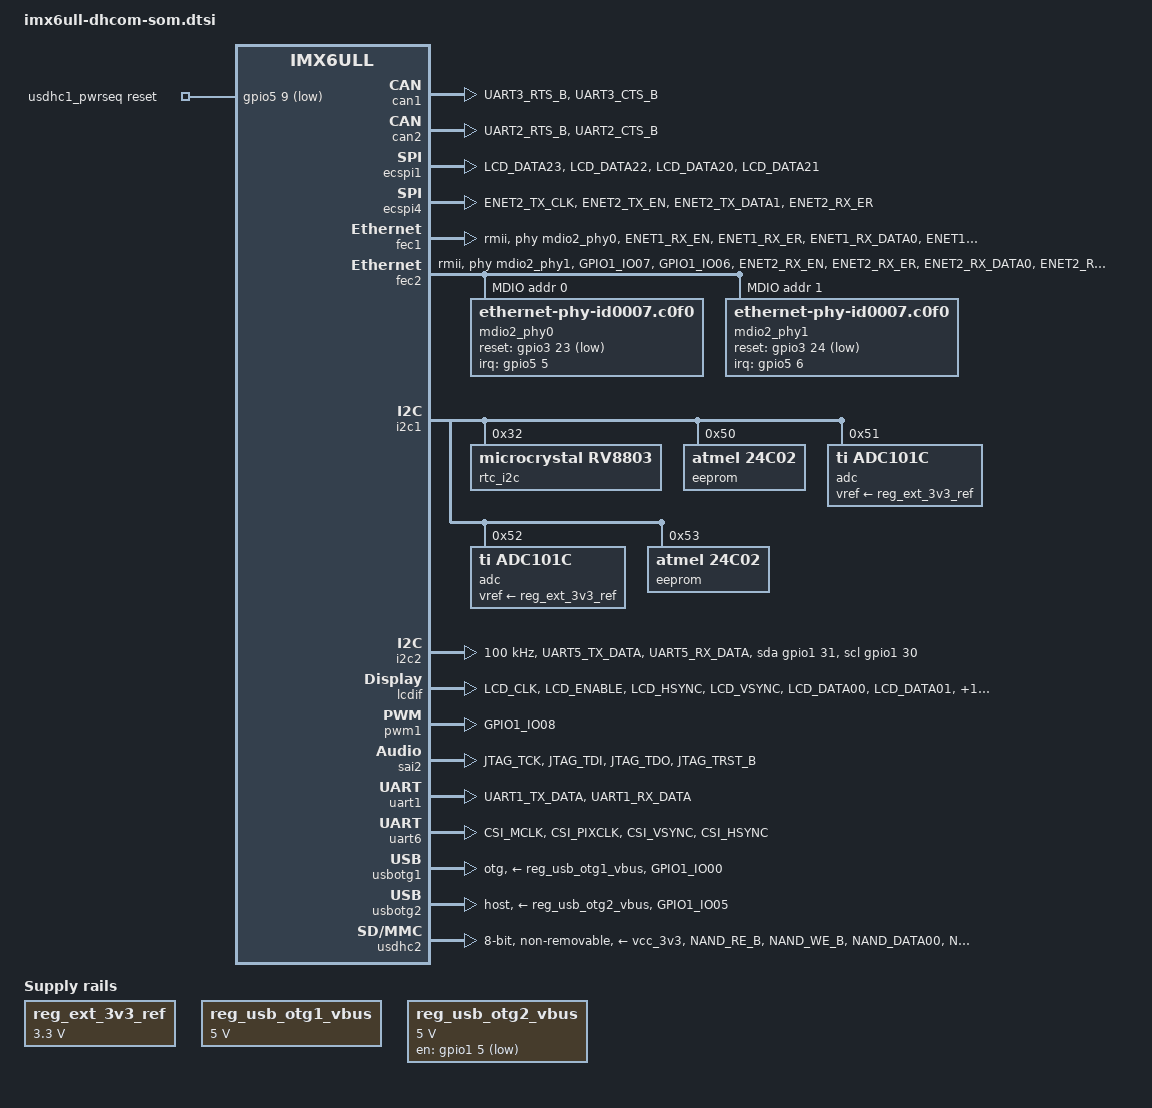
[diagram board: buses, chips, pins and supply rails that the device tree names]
// SPDX-License-Identifier: GPL-2.0+ OR BSD-3-Clause
/*
 * Copyright (C) 2023 DH electronics GmbH
 */

#include "imx6ull-dhcor-som.dtsi"

/ {
	aliases {
		/delete-property/ spi2;
		/delete-property/ spi3;
		i2c0 = &i2c2;
		i2c1 = &i2c1;
		mmc2 = &usdhc2;
		rtc0 = &rtc_i2c;
		rtc1 = &snvs_rtc;
		serial0 = &uart1;
		serial1 = &uart6; /* DHCOM UART2, special hardware required */
		serial2 = &uart3;
		serial3 = &uart2; /* Use BT UART always as ttymxc3 */
		serial4 = &uart4;
		serial5 = &uart5;
		spi0 = &ecspi1;
		spi1 = &ecspi4; /* DHCOM SPI2, special hardware required */
	};

	chosen {
		stdout-path = "serial0:115200n8";
	};

	reg_ext_3v3_ref: regulator-ext-3v3-ref {
		compatible = "regulator-fixed";
		regulator-always-on;
		regulator-max-microvolt = <3300000>;
		regulator-min-microvolt = <3300000>;
		regulator-name = "VCC_3V3_REF";
	};

	reg_usb_otg1_vbus: regulator-usb-otg1-vbus {
		compatible = "regulator-fixed";
		regulator-max-microvolt = <5000000>;
		regulator-min-microvolt = <5000000>;
		regulator-name = "usb-otg1-vbus";
	};

	reg_usb_otg2_vbus: regulator-usb-otg2-vbus {
		compatible = "regulator-fixed";
		gpio = <&gpio1 5 GPIO_ACTIVE_LOW>;
		regulator-max-microvolt = <5000000>;
		regulator-min-microvolt = <5000000>;
		regulator-name = "usb-otg2-vbus";
	};

	/* SoM with WiFi/BT: WiFi pin WL_REG_ON is connected to a DHCOM GPIO */
	/omit-if-no-ref/ usdhc1_pwrseq: usdhc1-pwrseq {
		compatible = "mmc-pwrseq-simple";
		reset-gpios = <&gpio5 9 GPIO_ACTIVE_LOW>; /* GPIO H */
	};
};

/* SoM with WiFi/BT: BT pin BT_REG_ON is connected to a DHCOM GPIO */
&bluetooth {
	shutdown-gpios = <&gpio1 18 GPIO_ACTIVE_HIGH>; /* GPIO I */
};

&can1 {
	pinctrl-0 = <&pinctrl_flexcan1>;
	pinctrl-names = "default";
	status = "okay";
};

/*
 * The signals for CAN2 TX and RX are routed to the DHCOM UART1 RTS/CTS pins.
 * Only if this pins are used as CAN interface enable it on board layer.
 */
&can2 {
	pinctrl-0 = <&pinctrl_flexcan2>;
	pinctrl-names = "default";
};

/* DHCOM SPI1 */
&ecspi1 {
	cs-gpios = <&gpio3 26 GPIO_ACTIVE_LOW>;
	pinctrl-0 = <&pinctrl_ecspi1>;
	pinctrl-names = "default";
	status = "okay";
};

/*
 * DHCOM SPI2
 * Special hardware required that uses the pins of FEC2. Therefore this SPI
 * interface can only be used if FEC2 is disabled.
 */
&ecspi4 {
	cs-gpios = <&gpio2 15 GPIO_ACTIVE_LOW>;
	pinctrl-0 = <&pinctrl_ecspi4>;
	pinctrl-names = "default";
};

/* DHCOM ETH1 */
&fec1 {
	phy-handle = <&mdio2_phy0>;
	phy-mode = "rmii";
	pinctrl-0 = <&pinctrl_fec1>;
	pinctrl-names = "default";
	status = "okay";
};

/* DHCOM ETH2 */
&fec2 {
	phy-handle = <&mdio2_phy1>;
	phy-mode = "rmii";
	pinctrl-0 = <&pinctrl_fec2>;
	pinctrl-names = "default";
	status = "okay";

	mdio {
		#address-cells = <1>;
		#size-cells = <0>;

		mdio2_phy0: ethernet-phy@0 {
			compatible = "ethernet-phy-id0007.c0f0", /* SMSC LAN8710Ai */
				     "ethernet-phy-ieee802.3-c22";
			reg = <0>;
			clock-names = "rmii-ref";
			clocks = <&clks IMX6UL_CLK_ENET_REF>;
			interrupt-parent = <&gpio5>;
			interrupts = <5 IRQ_TYPE_LEVEL_LOW>;
			pinctrl-0 = <&pinctrl_fec1_phy &pinctrl_snvs_fec1_phy>;
			pinctrl-names = "default";
			reset-assert-us = <500>;
			reset-deassert-us = <500>;
			reset-gpios = <&gpio3 23 GPIO_ACTIVE_LOW>;
			smsc,disable-energy-detect; /* Make plugin detection reliable */
		};

		mdio2_phy1: ethernet-phy@1 {
			compatible = "ethernet-phy-id0007.c0f0", /* SMSC LAN8710Ai */
				     "ethernet-phy-ieee802.3-c22";
			reg = <1>;
			clock-names = "rmii-ref";
			clocks = <&clks IMX6UL_CLK_ENET2_REF>;
			interrupt-parent = <&gpio5>;
			interrupts = <6 IRQ_TYPE_LEVEL_LOW>;
			pinctrl-0 = <&pinctrl_fec2_phy &pinctrl_snvs_fec2_phy>;
			pinctrl-names = "default";
			reset-assert-us = <500>;
			reset-deassert-us = <500>;
			reset-gpios = <&gpio3 24 GPIO_ACTIVE_LOW>;
			smsc,disable-energy-detect; /* Make plugin detection reliable */
		};
	};
};

&gpio1 {
	gpio-line-names =
		"", "", "", "",
		"", "", "", "",
		"", "", "", "DHCOM-INT",
		"", "", "", "",
		"", "", "DHCOM-I", "",
		"", "", "", "",
		"", "", "", "",
		"", "", "", "";
	pinctrl-0 = <&pinctrl_spi1_switch
		     &pinctrl_dhcom_i &pinctrl_dhcom_int>;
	pinctrl-names = "default";
};

&gpio4 {
	gpio-line-names =
		"", "", "", "",
		"", "", "", "",
		"", "", "", "",
		"", "", "", "",
		"", "DHCOM-L", "DHCOM-K", "DHCOM-M",
		"DHCOM-J", "DHCOM-U", "DHCOM-T", "DHCOM-S",
		"DHCOM-R", "DHCOM-Q", "DHCOM-P", "DHCOM-O",
		"DHCOM-N", "", "", "";
	pinctrl-0 = <&pinctrl_dhcom_j &pinctrl_dhcom_k
		     &pinctrl_dhcom_l &pinctrl_dhcom_m
		     &pinctrl_dhcom_n &pinctrl_dhcom_o
		     &pinctrl_dhcom_p &pinctrl_dhcom_q
		     &pinctrl_dhcom_r &pinctrl_dhcom_s
		     &pinctrl_dhcom_t &pinctrl_dhcom_u>;
	pinctrl-names = "default";
};

&gpio5 {
	gpio-line-names =
		"DHCOM-A", "DHCOM-B", "DHCOM-C", "DHCOM-D",
		"DHCOM-E", "", "", "DHCOM-F",
		"DHCOM-G", "DHCOM-H", "", "",
		"", "", "", "",
		"", "", "", "",
		"", "", "", "",
		"", "", "", "",
		"", "", "", "";
	pinctrl-0 = <&pinctrl_snvs_dhcom_a &pinctrl_snvs_dhcom_b
		     &pinctrl_snvs_dhcom_c &pinctrl_snvs_dhcom_d
		     &pinctrl_snvs_dhcom_e &pinctrl_snvs_dhcom_f
		     &pinctrl_snvs_dhcom_g &pinctrl_snvs_dhcom_h>;
	pinctrl-names = "default";
};

/* DHCOM I2C2 */
&i2c1 {
	rtc_i2c: rtc@32 {
		compatible = "microcrystal,rv8803";
		reg = <0x32>;
	};

	/* Microchip 24AA025E48T-I/OT containing MAC for DHCOM ETH1 */
	eeprom@50 {
		compatible = "atmel,24c02";
		reg = <0x50>;
		pagesize = <16>;
	};

	/* TI ADC101C027 */
	adc@51 {
		compatible = "ti,adc101c";
		reg = <0x51>;
		vref-supply = <&reg_ext_3v3_ref>;
	};

	/* TI ADC101C027 */
	adc@52 {
		compatible = "ti,adc101c";
		reg = <0x52>;
		vref-supply = <&reg_ext_3v3_ref>;
	};

	/* Microchip 24AA025E48T-I/OT containing MAC for DHCOM ETH2 */
	eeprom@53 {
		compatible = "atmel,24c02";
		reg = <0x53>;
		pagesize = <16>;
	};
};

/* DHCOM I2C1 */
&i2c2 {
	clock-frequency = <100000>;
	pinctrl-0 = <&pinctrl_i2c2>;
	pinctrl-1 = <&pinctrl_i2c2_gpio>;
	pinctrl-names = "default", "gpio";
	scl-gpios = <&gpio1 30 (GPIO_ACTIVE_HIGH | GPIO_OPEN_DRAIN)>;
	sda-gpios = <&gpio1 31 (GPIO_ACTIVE_HIGH | GPIO_OPEN_DRAIN)>;
	status = "okay";
};

&lcdif {
	pinctrl-0 = <&pinctrl_lcdif>;
	pinctrl-names = "default";
};

&pwm1 {
	pinctrl-0 = <&pinctrl_pwm1>;
	pinctrl-names = "default";
};

&sai2 {
	assigned-clock-rates = <320000000>;
	assigned-clocks = <&clks IMX6UL_CLK_PLL3_PFD2>;
	pinctrl-0 = <&pinctrl_sai2>;
	pinctrl-names = "default";
};

&tsc {
	measure-delay-time = <0xffff>;
	pinctrl-0 = <&pinctrl_tsc>;
	pinctrl-names = "default";
	pre-charge-time = <0xfff>;
	touchscreen-average-samples = <32>;
	xnur-gpio = <&gpio1 3 GPIO_ACTIVE_LOW>;
};

/* DHCOM UART1 */
&uart1 {
	pinctrl-0 = <&pinctrl_uart1>;
	pinctrl-names = "default";
	status = "okay";
};

/*
 * DHCOM UART2 (alternative)
 * Special hardware required that uses DHCOM GPIO pins for DHCOM UART2.
 * Therefore this UART interface can only be used if DHCOM GPIOs J/K/L/M are
 * removed from GPIO hog muxing.
 */
&uart6 {
	pinctrl-0 = <&pinctrl_uart6>;
	pinctrl-names = "default";
	uart-has-rtscts;
};

&usbotg1 {
	adp-disable;
	disable-over-current;
	dr_mode = "otg";
	hnp-disable;
	pinctrl-0 = <&pinctrl_usbotg1>;
	pinctrl-names = "default";
	srp-disable;
	vbus-supply = <&reg_usb_otg1_vbus>;
	status = "okay";
};

&usbotg2 {
	disable-over-current; /* Overcurrent pin is used for TSC */
	dr_mode = "host";
	pinctrl-0 = <&pinctrl_usbotg2>;
	pinctrl-names = "default";
	tpl-support;
	vbus-supply = <&reg_usb_otg2_vbus>;
	status = "okay";
};

&usbphy1 {
	fsl,tx-d-cal = <106>;
};

&usbphy2 {
	fsl,tx-d-cal = <106>;
};

/* WiFi on LGA */
&usdhc1 {
	mmc-pwrseq = <&usdhc1_pwrseq>;
};

/* eMMC on module */
&usdhc2 {
	bus-width = <8>;
	no-1-8-v;
	non-removable;
	pinctrl-0 = <&pinctrl_usdhc2>;
	pinctrl-names = "default";
	vmmc-supply = <&vcc_3v3>;
	vqmmc-supply = <&vcc_3v3>;
	status = "okay";
};

&iomuxc {
	/* DHCOM GPIOs I..U + INT_HIGHEST_PRIORITY */
	pinctrl_dhcom_i: dhcom-i-grp {
		fsl,pins = <MX6UL_PAD_UART1_CTS_B__GPIO1_IO18	0x400120b0>;
	};

	pinctrl_dhcom_j: dhcom-j-grp {
		fsl,pins = <MX6UL_PAD_CSI_HSYNC__GPIO4_IO20	0x400120b0>;
	};

	pinctrl_dhcom_k: dhcom-k-grp {
		fsl,pins = <MX6UL_PAD_CSI_PIXCLK__GPIO4_IO18	0x400120b0>;
	};

	pinctrl_dhcom_l: dhcom-l-grp {
		fsl,pins = <MX6UL_PAD_CSI_MCLK__GPIO4_IO17	0x400120b0>;
	};

	pinctrl_dhcom_m: dhcom-m-grp {
		fsl,pins = <MX6UL_PAD_CSI_VSYNC__GPIO4_IO19	0x400120b0>;
	};

	pinctrl_dhcom_n: dhcom-n-grp {
		fsl,pins = <MX6UL_PAD_CSI_DATA07__GPIO4_IO28	0x400120b0>;
	};

	pinctrl_dhcom_o: dhcom-o-grp {
		fsl,pins = <MX6UL_PAD_CSI_DATA06__GPIO4_IO27	0x400120b0>;
	};

	pinctrl_dhcom_p: dhcom-p-grp {
		fsl,pins = <MX6UL_PAD_CSI_DATA05__GPIO4_IO26	0x400120b0>;
	};

	pinctrl_dhcom_q: dhcom-q-grp {
		fsl,pins = <MX6UL_PAD_CSI_DATA04__GPIO4_IO25	0x400120b0>;
	};

	pinctrl_dhcom_r: dhcom-r-grp {
		fsl,pins = <MX6UL_PAD_CSI_DATA03__GPIO4_IO24	0x400120b0>;
	};

	pinctrl_dhcom_s: dhcom-s-grp {
		fsl,pins = <MX6UL_PAD_CSI_DATA02__GPIO4_IO23	0x400120b0>;
	};

	pinctrl_dhcom_t: dhcom-t-grp {
		fsl,pins = <MX6UL_PAD_CSI_DATA01__GPIO4_IO22	0x400120b0>;
	};

	pinctrl_dhcom_u: dhcom-u-grp {
		fsl,pins = <MX6UL_PAD_CSI_DATA00__GPIO4_IO21	0x400120b0>;
	};

	pinctrl_dhcom_int: dhcom-int-grp {
		fsl,pins = <MX6UL_PAD_JTAG_TMS__GPIO1_IO11	0x400120b0>;
	};

	pinctrl_ecspi1: ecspi1-grp {
		fsl,pins = <
			MX6UL_PAD_LCD_DATA23__ECSPI1_MISO	0x100b1
			MX6UL_PAD_LCD_DATA22__ECSPI1_MOSI	0x100b1
			MX6UL_PAD_LCD_DATA20__ECSPI1_SCLK	0x100b1
			MX6UL_PAD_LCD_DATA21__GPIO3_IO26	0x1b0b0 /* SS0 */
		>;
	};

	pinctrl_ecspi4: ecspi4-grp {
		fsl,pins = <
			MX6UL_PAD_ENET2_TX_CLK__ECSPI4_MISO	0x100b1
			MX6UL_PAD_ENET2_TX_EN__ECSPI4_MOSI	0x100b1
			MX6UL_PAD_ENET2_TX_DATA1__ECSPI4_SCLK	0x100b1
			MX6UL_PAD_ENET2_RX_ER__GPIO2_IO15	0x1b0b0 /* SS0 */
		>;
	};

	pinctrl_fec1: fec1-grp {
		fsl,pins = <
			/* FEC1 uses MDIO bus from FEC2 */
			MX6UL_PAD_ENET1_RX_EN__ENET1_RX_EN	0x1b0b0
			MX6UL_PAD_ENET1_RX_ER__ENET1_RX_ER	0x1b0b0
			MX6UL_PAD_ENET1_RX_DATA0__ENET1_RDATA00	0x1b0b0
			MX6UL_PAD_ENET1_RX_DATA1__ENET1_RDATA01	0x1b0b0
			MX6UL_PAD_ENET1_TX_EN__ENET1_TX_EN	0x1b010
			MX6UL_PAD_ENET1_TX_DATA0__ENET1_TDATA00	0x1b010
			MX6UL_PAD_ENET1_TX_DATA1__ENET1_TDATA01	0x1b010
			MX6UL_PAD_ENET1_TX_CLK__ENET1_REF_CLK1	0x4001b010
		>;
	};

	pinctrl_fec1_phy: fec1-phy-grp {
		fsl,pins = <
			MX6UL_PAD_LCD_DATA18__GPIO3_IO23	0xb0 /* SMSC PHY reset */
		>;
	};

	pinctrl_fec2: fec2-grp {
		fsl,pins = <
			MX6UL_PAD_GPIO1_IO07__ENET2_MDC		0x1b0b0
			MX6UL_PAD_GPIO1_IO06__ENET2_MDIO	0x1b0b0
			MX6UL_PAD_ENET2_RX_EN__ENET2_RX_EN	0x1b0b0
			MX6UL_PAD_ENET2_RX_ER__ENET2_RX_ER	0x1b0b0
			MX6UL_PAD_ENET2_RX_DATA0__ENET2_RDATA00	0x1b0b0
			MX6UL_PAD_ENET2_RX_DATA1__ENET2_RDATA01	0x1b0b0
			MX6UL_PAD_ENET2_TX_EN__ENET2_TX_EN	0x1b010
			MX6UL_PAD_ENET2_TX_DATA0__ENET2_TDATA00	0x1b010
			MX6UL_PAD_ENET2_TX_DATA1__ENET2_TDATA01	0x1b010
			MX6UL_PAD_ENET2_TX_CLK__ENET2_REF_CLK2	0x4001b010
		>;
	};

	pinctrl_fec2_phy: fec2-phy-grp {
		fsl,pins = <
			MX6UL_PAD_LCD_DATA19__GPIO3_IO24	0xb0 /* SMSC PHY reset */
		>;
	};

	pinctrl_flexcan1: flexcan1-grp {
		fsl,pins = <
			MX6UL_PAD_UART3_RTS_B__FLEXCAN1_RX	0x1b020
			MX6UL_PAD_UART3_CTS_B__FLEXCAN1_TX	0x1b020
		>;
	};

	pinctrl_flexcan2: flexcan2-grp {
		fsl,pins = <
			MX6UL_PAD_UART2_RTS_B__FLEXCAN2_RX	0x1b020
			MX6UL_PAD_UART2_CTS_B__FLEXCAN2_TX	0x1b020
		>;
	};

	pinctrl_i2c2: i2c2-grp {
		fsl,pins = <
			MX6UL_PAD_UART5_TX_DATA__I2C2_SCL	0x4001b8b0
			MX6UL_PAD_UART5_RX_DATA__I2C2_SDA	0x4001b8b0
		>;
	};

	pinctrl_i2c2_gpio: i2c2-gpio-grp {
		fsl,pins = <
			MX6UL_PAD_UART5_TX_DATA__GPIO1_IO30	0x4001b8b0
			MX6UL_PAD_UART5_RX_DATA__GPIO1_IO31	0x4001b8b0
		>;
	};

	pinctrl_lcdif: lcdif-grp {
		fsl,pins = <
			MX6UL_PAD_LCD_CLK__LCDIF_CLK		0x79
			MX6UL_PAD_LCD_ENABLE__LCDIF_ENABLE	0x79
			MX6UL_PAD_LCD_HSYNC__LCDIF_HSYNC	0x79
			MX6UL_PAD_LCD_VSYNC__LCDIF_VSYNC	0x79
			MX6UL_PAD_LCD_DATA00__LCDIF_DATA00	0x79
			MX6UL_PAD_LCD_DATA01__LCDIF_DATA01	0x79
			MX6UL_PAD_LCD_DATA02__LCDIF_DATA02	0x79
			MX6UL_PAD_LCD_DATA03__LCDIF_DATA03	0x79
			MX6UL_PAD_LCD_DATA04__LCDIF_DATA04	0x79
			MX6UL_PAD_LCD_DATA05__LCDIF_DATA05	0x79
			MX6UL_PAD_LCD_DATA06__LCDIF_DATA06	0x79
			MX6UL_PAD_LCD_DATA07__LCDIF_DATA07	0x79
			MX6UL_PAD_LCD_DATA08__LCDIF_DATA08	0x79
			MX6UL_PAD_LCD_DATA09__LCDIF_DATA09	0x79
			MX6UL_PAD_LCD_DATA10__LCDIF_DATA10	0x79
			MX6UL_PAD_LCD_DATA11__LCDIF_DATA11	0x79
			MX6UL_PAD_LCD_DATA12__LCDIF_DATA12	0x79
			MX6UL_PAD_LCD_DATA13__LCDIF_DATA13	0x79
			MX6UL_PAD_LCD_DATA14__LCDIF_DATA14	0x79
			MX6UL_PAD_LCD_DATA15__LCDIF_DATA15	0x79
			MX6UL_PAD_LCD_DATA16__LCDIF_DATA16	0x79
			MX6UL_PAD_LCD_DATA17__LCDIF_DATA17	0x79
		>;
	};

	pinctrl_pwm1: pwm1-grp {
		fsl,pins = <
			MX6UL_PAD_GPIO1_IO08__PWM1_OUT		0x110b0
		>;
	};

	pinctrl_sai2: sai2-grp {
		fsl,pins = <
			MX6UL_PAD_JTAG_TCK__SAI2_RX_DATA	0x130b0
			MX6UL_PAD_JTAG_TDI__SAI2_TX_BCLK	0x17088
			MX6UL_PAD_JTAG_TDO__SAI2_TX_SYNC	0x17088
			MX6UL_PAD_JTAG_TRST_B__SAI2_TX_DATA	0x120b0
		>;
	};

	pinctrl_tsc: tsc-grp {
		fsl,pins = <
			MX6UL_PAD_GPIO1_IO01__GPIO1_IO01	0xb0
			MX6UL_PAD_GPIO1_IO02__GPIO1_IO02	0xb0
			MX6UL_PAD_GPIO1_IO03__GPIO1_IO03	0xb0
			MX6UL_PAD_GPIO1_IO04__GPIO1_IO04	0xb0
		>;
	};

	pinctrl_uart1: uart1-grp {
		fsl,pins = <
			MX6UL_PAD_UART1_TX_DATA__UART1_DCE_TX	0x1b0b1
			MX6UL_PAD_UART1_RX_DATA__UART1_DCE_RX	0x1b0b1
		>;
	};

	pinctrl_uart6: uart6-grp {
		fsl,pins = <
			MX6UL_PAD_CSI_MCLK__UART6_DCE_TX	0x1b0b1
			MX6UL_PAD_CSI_PIXCLK__UART6_DCE_RX	0x1b0b1
			MX6UL_PAD_CSI_VSYNC__UART6_DCE_RTS	0x1b0b1
			MX6UL_PAD_CSI_HSYNC__UART6_DCE_CTS	0x1b0b1
		>;
	};

	pinctrl_usbotg1: usbotg1-grp {
		fsl,pins = <
			MX6UL_PAD_GPIO1_IO00__ANATOP_OTG1_ID	0x17059
		>;
	};

	pinctrl_usbotg2: usbotg2-grp {
		fsl,pins = <
			MX6UL_PAD_GPIO1_IO05__GPIO1_IO05	0x120b0
		>;
	};

	pinctrl_usdhc2: usdhc2-grp {
		fsl,pins = <
			MX6UL_PAD_NAND_RE_B__USDHC2_CLK		0x10069
			MX6UL_PAD_NAND_WE_B__USDHC2_CMD		0x17059
			MX6UL_PAD_NAND_DATA00__USDHC2_DATA0	0x17059
			MX6UL_PAD_NAND_DATA01__USDHC2_DATA1	0x17059
			MX6UL_PAD_NAND_DATA02__USDHC2_DATA2	0x17059
			MX6UL_PAD_NAND_DATA03__USDHC2_DATA3	0x17059
			MX6UL_PAD_NAND_DATA04__USDHC2_DATA4	0x17059
			MX6UL_PAD_NAND_DATA05__USDHC2_DATA5	0x17059
			MX6UL_PAD_NAND_DATA06__USDHC2_DATA6	0x17059
			MX6UL_PAD_NAND_DATA07__USDHC2_DATA7	0x17059
			MX6UL_PAD_NAND_ALE__USDHC2_RESET_B	0x17059 /* SD2 Reset */
		>;
	};
};

&iomuxc_snvs {
	/* DHCOM GPIOs A..H */
	pinctrl_snvs_dhcom_a: snvs-dhcom-a-grp {
		fsl,pins = <MX6ULL_PAD_SNVS_TAMPER0__GPIO5_IO00	0x400120b0>;
	};

	pinctrl_snvs_dhcom_b: snvs-dhcom-b-grp {
		fsl,pins = <MX6ULL_PAD_SNVS_TAMPER1__GPIO5_IO01	0x400120b0>;
	};

	pinctrl_snvs_dhcom_c: snvs-dhcom-c-grp {
		fsl,pins = <MX6ULL_PAD_SNVS_TAMPER2__GPIO5_IO02	0x400120b0>;
	};

	pinctrl_snvs_dhcom_d: snvs-dhcom-d-grp {
		fsl,pins = <MX6ULL_PAD_SNVS_TAMPER3__GPIO5_IO03	0x400120b0>;
	};

	pinctrl_snvs_dhcom_e: snvs-dhcom-e-grp {
		fsl,pins = <MX6ULL_PAD_SNVS_TAMPER4__GPIO5_IO04	0x400120b0>;
	};

	pinctrl_snvs_dhcom_f: snvs-dhcom-f-grp {
		fsl,pins = <MX6ULL_PAD_SNVS_TAMPER7__GPIO5_IO07	0x400120b0>;
	};

	pinctrl_snvs_dhcom_g: snvs-dhcom-g-grp {
		fsl,pins = <MX6ULL_PAD_SNVS_TAMPER8__GPIO5_IO08	0x400120b0>;
	};

	pinctrl_snvs_dhcom_h: snvs-dhcom-h-grp {
		fsl,pins = <MX6ULL_PAD_SNVS_TAMPER9__GPIO5_IO09	0x400120b0>;
	};

	pinctrl_snvs_fec1_phy: snvs-fec1-phy-grp {
		fsl,pins = <
			MX6ULL_PAD_SNVS_TAMPER5__GPIO5_IO05	0xb1 /* SMSC PHY Int */
		>;
	};

	pinctrl_snvs_fec2_phy: snvs-fec2-phy-grp {
		fsl,pins = <
			MX6ULL_PAD_SNVS_TAMPER6__GPIO5_IO06	0xb1 /* SMSC PHY Int */
		>;
	};
};
